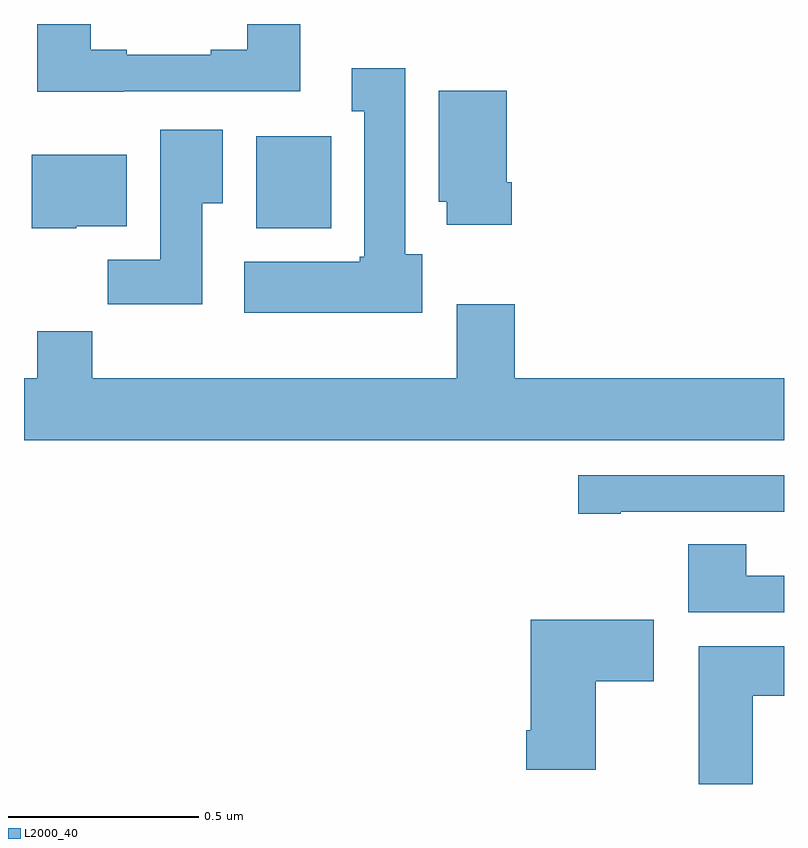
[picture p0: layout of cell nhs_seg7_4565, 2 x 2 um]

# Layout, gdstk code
import gdstk
lib = gdstk.Library(unit=1e-6, precision=1e-09)
def R(c, l, rs):  # rectangles x0, y0, x1, y1
    for r in rs: c.add(gdstk.rectangle(r[:2], r[2:], *l))
def P(c, l, *ps):  # polygons
    for p in ps: c.add(gdstk.Polygon(p, *l))
L2000_40 = (2000, 40)

nhs_seg7_4565 = lib.new_cell('nhs_seg7_4565')
R(nhs_seg7_4565, L2000_40, [(174.611,1046.462,174.808,1046.704)])
P(nhs_seg7_4565, L2000_40, [(174.263,1046.823),(174.727,1046.823),(174.727,1047),(174.587,1047),(174.587,1046.932),(174.491,1046.932),(174.491,1046.919),(174.271,1046.919),(174.271,1046.932),(174.175,1046.932),(174.175,1047),(174.035,1047),(174.035,1046.822),(174.263,1046.822)],
  [(175.048,1046.394),(175.003,1046.394),(175.003,1046.884),(174.863,1046.884),(174.863,1046.771),(174.896,1046.771),(174.896,1046.388),(174.883,1046.388),(174.883,1046.374),(174.579,1046.374),(174.579,1046.24),(175.048,1046.24)],
  [(175.283,1046.584),(175.27,1046.584),(175.27,1046.824),(175.091,1046.824),(175.091,1046.532),(175.112,1046.532),(175.112,1046.472),(175.283,1046.472)],
  [(174.469,1046.528),(174.523,1046.528),(174.523,1046.722),(174.359,1046.722),(174.359,1046.38),(174.22,1046.38),(174.22,1046.262),(174.469,1046.262)],
  [(174.138,1046.468),(174.271,1046.468),(174.271,1046.656),(174.02,1046.656),(174.02,1046.462),(174.138,1046.462)],
  [(176,1046.068),(175.292,1046.068),(175.292,1046.263),(175.139,1046.263),(175.139,1046.068),(174.179,1046.068),(174.179,1046.192),(174.035,1046.192),(174.035,1046.068),(174,1046.068),(174,1045.904),(176,1045.904)],
  [(175.57,1045.716),(176,1045.716),(176,1045.812),(175.458,1045.812),(175.458,1045.711),(175.57,1045.711)],
  [(176,1045.548),(175.9,1045.548),(175.9,1045.631),(175.748,1045.631),(175.748,1045.452),(176,1045.452)],
  [(175.504,1045.27),(175.657,1045.27),(175.657,1045.432),(175.334,1045.432),(175.334,1045.141),(175.322,1045.141),(175.322,1045.037),(175.504,1045.037)],
  [(175.918,1045.232),(176,1045.232),(176,1045.363),(175.775,1045.363),(175.775,1045),(175.918,1045)])

lib.write_gds('nhs_seg7_4565.gds')
